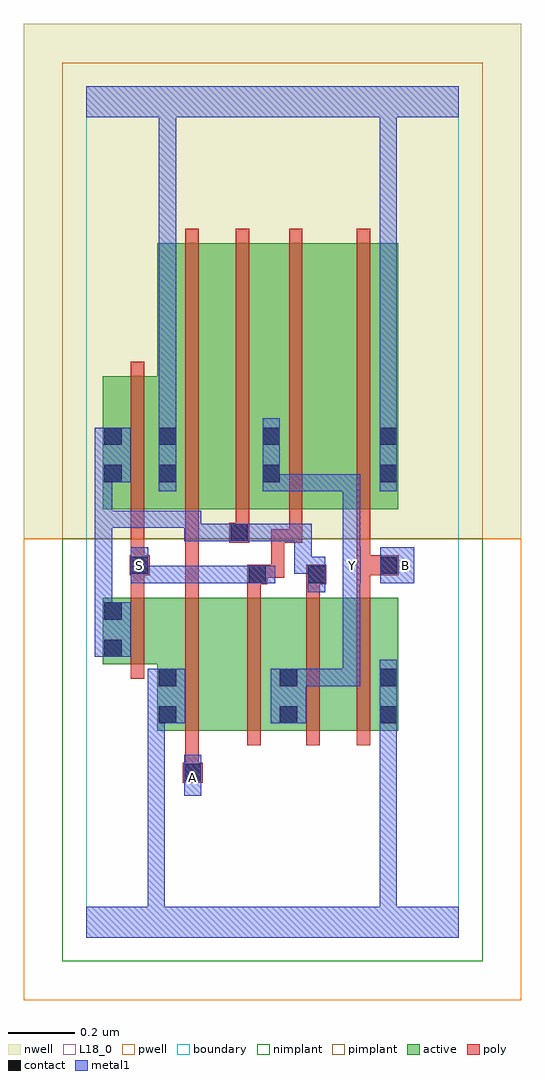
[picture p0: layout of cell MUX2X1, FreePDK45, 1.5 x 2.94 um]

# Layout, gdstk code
import gdstk
lib = gdstk.Library(unit=1e-6, precision=1e-09)
def R(c, l, rs):  # rectangles x0, y0, x1, y1
    for r in rs: c.add(gdstk.rectangle(r[:2], r[2:], *l))
active = (1, 0)
pwell = (2, 0)
nwell = (3, 0)
nimplant = (4, 0)
pimplant = (5, 0)
poly = (9, 0)
contact = (10, 0)
metal1 = (11, 0)
L18_0 = (18, 0)
boundary = (235, 0)

mux2x1 = lib.new_cell('MUX2X1')
R(mux2x1, active, [(0.214,0.622,0.394,1.022), (0.214,0.622,0.274,0.822), (0.394,0.622,0.638,1.022), (0.578,0.622,0.758,1.022), (0.758,0.622,0.938,1.022), (0.878,0.622,0.938,1.022), (0.578,0.64,0.638,0.812), (0.05,0.822,0.11,1.022), (0.05,0.822,0.274,1.022), (0.05,1.288,0.274,1.688), (0.05,1.288,0.11,1.644), (0.214,1.288,0.394,2.088), (0.214,1.288,0.274,1.714), (0.394,1.288,0.586,2.088), (0.526,1.288,0.586,2.044), (0.526,1.288,0.706,2.088), (0.706,1.288,0.938,2.088), (0.878,1.288,0.938,2.044)])
R(mux2x1, pwell, [(-0.188,-0.188,1.308,1.2)])
R(mux2x1, nwell, [(-0.188,1.2,1.308,2.748)])
R(mux2x1, nimplant, [(-0.072,-0.072,1.192,1.2)])
R(mux2x1, pimplant, [(-0.072,1.2,1.192,2.632)])
R(mux2x1, poly, [(0.29,0.466,0.35,0.526), (0.298,0.486,0.338,0.618), (0.298,0.578,0.338,1.066), (0.484,0.578,0.524,1.066), (0.662,0.578,0.702,1.066), (0.814,0.578,0.854,1.066), (0.134,0.778,0.174,1.066), (0.134,1.026,0.174,1.13), (0.298,1.026,0.338,1.248), (0.484,1.026,0.524,1.102), (0.662,1.026,0.702,1.102), (0.814,1.026,0.854,1.13), (0.484,1.062,0.544,1.122), (0.662,1.062,0.722,1.122), (0.504,1.082,0.596,1.122), (0.556,1.082,0.596,1.122), (0.556,1.082,0.596,1.228), (0.13,1.09,0.19,1.15), (0.814,1.09,0.854,1.13), (0.814,1.09,0.854,1.13), (0.814,1.09,0.94,1.15), (0.134,1.11,0.174,1.284), (0.134,1.11,0.174,1.15), (0.134,1.11,0.174,1.15), (0.814,1.11,0.854,1.284), (0.43,1.188,0.49,1.248), (0.556,1.188,0.596,1.228), (0.556,1.188,0.65,1.228), (0.61,1.188,0.65,1.228), (0.61,1.188,0.65,1.284), (0.298,1.208,0.338,1.248), (0.298,1.208,0.338,1.248), (0.298,1.208,0.338,1.248), (0.298,1.208,0.338,1.284), (0.45,1.208,0.49,1.284), (0.134,1.244,0.174,1.732), (0.298,1.244,0.338,2.132), (0.45,1.244,0.49,2.132), (0.61,1.244,0.65,2.132), (0.814,1.244,0.854,2.132)])
R(mux2x1, contact, [(0.294,0.47,0.346,0.522), (0.218,0.644,0.27,0.696), (0.582,0.644,0.634,0.696), (0.882,0.644,0.934,0.696), (0.218,0.756,0.27,0.808), (0.582,0.756,0.634,0.808), (0.882,0.756,0.934,0.808), (0.054,0.844,0.106,0.896), (0.054,0.956,0.106,1.008), (0.488,1.066,0.54,1.118), (0.666,1.066,0.718,1.118), (0.134,1.094,0.186,1.146), (0.884,1.094,0.936,1.146), (0.434,1.192,0.486,1.244), (0.054,1.37,0.106,1.422), (0.218,1.37,0.27,1.422), (0.53,1.37,0.582,1.422), (0.882,1.37,0.934,1.422), (0.054,1.482,0.106,1.534), (0.218,1.482,0.27,1.534), (0.53,1.482,0.582,1.534), (0.882,1.482,0.934,1.534)])
R(mux2x1, metal1, [(0,0,1.12,0.092), (0.184,0.04,0.236,0.092), (0.184,0.04,0.236,0.092), (0.184,0.04,0.236,0.092), (0.184,0.04,0.236,0.092), (0.184,0.04,0.236,0.092), (0.184,0.04,0.236,0.092), (0.184,0.04,0.236,0.092), (0.184,0.04,0.236,0.092), (0.184,0.04,0.236,0.092), (0.184,0.04,0.236,0.092), (0.184,0.04,0.236,0.092), (0.184,0.04,0.236,0.092), (0.184,0.04,0.236,0.696), (0.882,0.04,0.934,0.092), (0.882,0.04,0.934,0.092), (0.882,0.04,0.934,0.092), (0.882,0.04,0.934,0.092), (0.882,0.04,0.934,0.092), (0.882,0.04,0.934,0.092), (0.882,0.04,0.934,0.092), (0.882,0.04,0.934,0.092), (0.882,0.04,0.934,0.668), (0.294,0.426,0.346,0.55), (0.882,0.616,0.934,0.668), (0.882,0.616,0.934,0.668), (0.882,0.616,0.934,0.668), (0.882,0.616,0.934,0.668), (0.882,0.616,0.934,0.836), (0.184,0.644,0.298,0.808), (0.554,0.644,0.662,0.808), (0.61,0.756,0.824,0.808), (0.772,0.756,0.824,0.808), (0.772,0.756,0.824,0.808), (0.772,0.756,0.824,0.808), (0.772,0.756,0.824,1.118), (0.026,0.844,0.134,1.008), (0.026,0.956,0.078,1.008), (0.026,0.956,0.078,1.008), (0.026,0.956,0.078,1.284), (0.666,1.038,0.718,1.146), (0.134,1.066,0.186,1.174), (0.134,1.066,0.236,1.118), (0.184,1.066,0.236,1.118), (0.184,1.066,0.348,1.118), (0.296,1.066,0.348,1.118), (0.296,1.066,0.348,1.118), (0.296,1.066,0.348,1.118), (0.296,1.066,0.512,1.118), (0.46,1.066,0.568,1.118), (0.772,1.066,0.826,1.174), (0.884,1.066,0.986,1.174), (0.626,1.094,0.678,1.146), (0.626,1.094,0.718,1.146), (0.626,1.094,0.678,1.244), (0.772,1.122,0.824,1.394), (0.294,1.192,0.458,1.244), (0.294,1.192,0.346,1.284), (0.406,1.192,0.514,1.244), (0.462,1.192,0.678,1.244), (0.626,1.192,0.678,1.244), (0.026,1.232,0.078,1.284), (0.026,1.232,0.078,1.284), (0.026,1.232,0.078,1.284), (0.026,1.232,0.236,1.284), (0.026,1.232,0.078,1.422), (0.184,1.232,0.236,1.284), (0.184,1.232,0.346,1.284), (0.294,1.232,0.346,1.284), (0.294,1.232,0.346,1.284), (0.218,1.342,0.27,1.562), (0.53,1.342,0.582,1.562), (0.53,1.342,0.824,1.394), (0.772,1.342,0.824,1.394), (0.772,1.342,0.824,1.394), (0.772,1.342,0.824,1.394), (0.772,1.342,0.824,1.394), (0.772,1.342,0.824,1.394), (0.882,1.342,0.934,1.562), (0.026,1.37,0.134,1.534), (0.218,1.51,0.27,2.52), (0.882,1.51,0.934,2.52), (0.882,1.51,0.934,1.562), (0.882,1.51,0.934,1.562), (0.882,1.51,0.934,1.562), (0.882,1.51,0.934,1.562), (0.882,1.51,0.934,1.562), (0.882,1.51,0.934,1.562), (0,2.468,1.12,2.56), (0.218,2.468,0.27,2.52), (0.218,2.468,0.27,2.52), (0.218,2.468,0.27,2.52), (0.218,2.468,0.27,2.52), (0.218,2.468,0.27,2.52), (0.218,2.468,0.27,2.52), (0.218,2.468,0.27,2.52), (0.218,2.468,0.27,2.52), (0.882,2.468,0.934,2.52), (0.882,2.468,0.934,2.52)])
R(mux2x1, L18_0, [(0,0,1.12,0.092), (0.184,0.04,0.236,0.092), (0.184,0.04,0.236,0.092), (0.184,0.04,0.236,0.092), (0.184,0.04,0.236,0.092), (0.184,0.04,0.236,0.092), (0.184,0.04,0.236,0.092), (0.184,0.04,0.236,0.092), (0.184,0.04,0.236,0.092), (0.184,0.04,0.236,0.092), (0.184,0.04,0.236,0.092), (0.184,0.04,0.236,0.092), (0.184,0.04,0.236,0.092), (0.184,0.04,0.236,0.696), (0.882,0.04,0.934,0.092), (0.882,0.04,0.934,0.092), (0.882,0.04,0.934,0.092), (0.882,0.04,0.934,0.092), (0.882,0.04,0.934,0.092), (0.882,0.04,0.934,0.092), (0.882,0.04,0.934,0.092), (0.882,0.04,0.934,0.092), (0.882,0.04,0.934,0.668), (0.294,0.426,0.346,0.55), (0.294,0.454,0.346,0.506), (0.882,0.616,0.934,0.668), (0.882,0.616,0.934,0.668), (0.882,0.616,0.934,0.668), (0.882,0.616,0.934,0.668), (0.882,0.616,0.934,0.836), (0.184,0.644,0.298,0.808), (0.554,0.644,0.662,0.808), (0.61,0.756,0.824,0.808), (0.772,0.756,0.824,0.808), (0.772,0.756,0.824,0.808), (0.772,0.756,0.824,0.808), (0.772,0.756,0.824,1.118), (0.134,1.066,0.186,1.174), (0.134,1.066,0.236,1.118), (0.184,1.066,0.236,1.118), (0.184,1.066,0.348,1.118), (0.296,1.066,0.348,1.118), (0.296,1.066,0.348,1.118), (0.296,1.066,0.348,1.118), (0.296,1.066,0.512,1.118), (0.46,1.066,0.568,1.118), (0.772,1.066,0.826,1.174), (0.884,1.066,0.986,1.174), (0.134,1.094,0.186,1.146), (0.774,1.094,0.826,1.146), (0.934,1.094,0.986,1.146), (0.772,1.122,0.824,1.394), (0.218,1.342,0.27,1.562), (0.53,1.342,0.582,1.562), (0.53,1.342,0.824,1.394), (0.772,1.342,0.824,1.394), (0.772,1.342,0.824,1.394), (0.772,1.342,0.824,1.394), (0.772,1.342,0.824,1.394), (0.772,1.342,0.824,1.394), (0.882,1.342,0.934,1.562), (0.218,1.51,0.27,2.52), (0.882,1.51,0.934,1.562), (0.882,1.51,0.934,1.562), (0.882,1.51,0.934,1.562), (0.882,1.51,0.934,1.562), (0.882,1.51,0.934,1.562), (0.882,1.51,0.934,1.562), (0.882,1.51,0.934,2.52), (0,2.468,1.12,2.56), (0.218,2.468,0.27,2.52), (0.218,2.468,0.27,2.52), (0.218,2.468,0.27,2.52), (0.218,2.468,0.27,2.52), (0.218,2.468,0.27,2.52), (0.218,2.468,0.27,2.52), (0.218,2.468,0.27,2.52), (0.218,2.468,0.27,2.52), (0.882,2.468,0.934,2.52), (0.882,2.468,0.934,2.52)])
R(mux2x1, boundary, [(0,0,1.12,2.56)])
mux2x1.add(gdstk.Label('A', (0.32,0.48), layer=11, texttype=0))
mux2x1.add(gdstk.Label('B', (0.96,1.12), layer=11, texttype=0))
mux2x1.add(gdstk.Label('S', (0.16,1.12), layer=11, texttype=0))
mux2x1.add(gdstk.Label('Y', (0.8,1.12), layer=11, texttype=0))

lib.write_gds('MUX2X1.gds')
